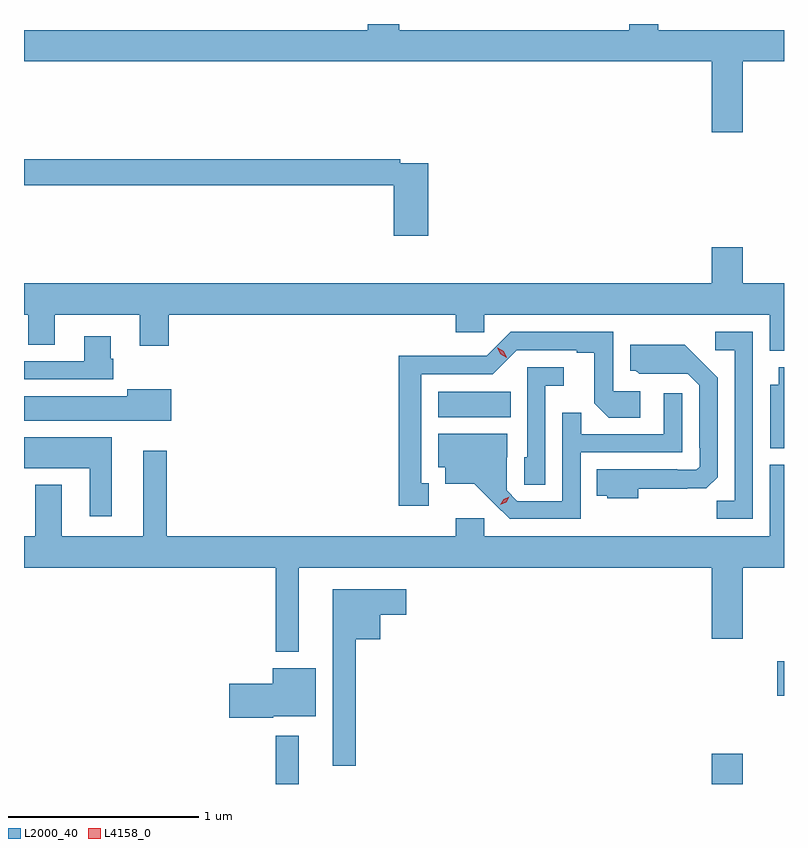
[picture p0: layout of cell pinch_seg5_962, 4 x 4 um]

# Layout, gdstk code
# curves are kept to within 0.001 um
import gdstk
lib = gdstk.Library(unit=1e-6, precision=1e-09)
def R(c, l, rs):  # rectangles x0, y0, x1, y1
    for r in rs: c.add(gdstk.rectangle(r[:2], r[2:], *l))
def P(c, l, *ps):  # polygons
    for p in ps: c.add(gdstk.Polygon(p, *l))
L2000_40 = (2000, 40)
L4158_0 = (4158, 0)

pinch_seg5_962 = lib.new_cell('pinch_seg5_962')
R(pinch_seg5_962, L2000_40, [(750.126,875.601,750.247,875.854), (752.42,875.601,752.584,875.761), (752.766,876.065,752.801,876.248), (750.98,877.532,751.364,877.666)])
P(pinch_seg5_962, L2000_40, [(752.584,879.404),(752.801,879.404),(752.801,879.568),(752.138,879.568),(752.138,879.601),(751.986,879.601),(751.986,879.568),(750.776,879.568),(750.776,879.601),(750.611,879.601),(750.611,879.568),(748.801,879.568),(748.801,879.404),(752.42,879.404),(752.42,879.03),(752.584,879.03)],
  [(750.929,878.868),(750.782,878.868),(750.782,878.888),(748.801,878.888),(748.801,878.752),(750.746,878.752),(750.746,878.487),(750.929,878.487)],
  [(752.801,878.236),(752.584,878.236),(752.584,878.425),(752.42,878.425),(752.42,878.236),(748.801,878.236),(748.801,878.072),(748.823,878.072),(748.823,877.912),(748.963,877.912),(748.963,878.072),(749.411,878.072),(749.411,877.908),(749.564,877.908),(749.564,878.072),(751.073,878.072),(751.073,877.979),(751.224,877.979),(751.224,878.072),(752.726,878.072),(752.726,877.88),(752.801,877.88)],
  [(752.637,877.98),(752.439,877.98),(752.439,877.884),(752.541,877.884),(752.541,877.091),(752.446,877.091),(752.446,876.996),(752.637,876.996)],
  [(750.931,877.185),(750.892,877.185),(750.892,877.758),(751.269,877.758),(751.395,877.884),(751.709,877.884),(751.709,877.872),(751.803,877.872),(751.803,877.604),(751.879,877.528),(752.044,877.528),(752.044,877.668),(751.902,877.668),(751.902,877.98),(751.362,877.98),(751.236,877.854),(751.014,877.854),(751.014,877.856),(750.774,877.856),(750.774,877.065),(750.931,877.065)],
  [(749.27,877.839),(749.257,877.839),(749.257,877.957),(749.117,877.957),(749.117,877.827),(748.801,877.827),(748.801,877.731),(749.27,877.731)],
  [(752.034,877.156),(752.392,877.157),(752.451,877.216),(752.451,877.738),(752.279,877.912),(751.991,877.912),(751.991,877.776),(752.022,877.776),(752.038,877.76),(752.295,877.761),(752.355,877.701),(752.355,877.372),(752.358,877.372),(752.358,877.272),(752.34,877.254),(752.24,877.254),(752.24,877.257),(751.816,877.257),(751.816,877.118),(751.872,877.118),(751.872,877.106),(752.034,877.106)],
  [(752.801,877.795),(752.774,877.795),(752.774,877.702),(752.729,877.702),(752.729,877.367),(752.801,877.367)],
  [(751.545,877.697),(751.642,877.697),(751.642,877.794),(751.449,877.794),(751.449,877.32),(751.434,877.32),(751.434,877.177),(751.545,877.177)],
  [(749.575,877.678),(749.345,877.678),(749.345,877.642),(748.801,877.642),(748.801,877.514),(749.575,877.514)],
  [(751.731,877.347),(752.265,877.347),(752.265,877.657),(752.169,877.657),(752.169,877.443),(751.733,877.443),(751.733,877.556),(751.635,877.556),(751.635,877.089),(751.398,877.089),(751.341,877.146),(751.341,877.32),(751.345,877.32),(751.345,877.444),(750.98,877.444),(750.98,877.268),(751.019,877.268),(751.019,877.181),(751.171,877.181),(751.358,876.996),(751.731,876.996)],
  [(749.263,877.426),(748.801,877.426),(748.801,877.262),(749.147,877.262),(749.147,877.011),(749.263,877.011)],
  [(750.247,876.74),(752.42,876.74),(752.42,876.366),(752.584,876.366),(752.584,876.74),(752.801,876.74),(752.801,877.282),(752.726,877.282),(752.726,876.904),(751.224,876.904),(751.224,877),(751.073,877),(751.073,876.904),(749.551,876.904),(749.551,877.354),(749.429,877.354),(749.429,876.904),(748.999,876.904),(748.999,877.177),(748.859,877.177),(748.859,876.904),(748.801,876.904),(748.801,876.74),(750.126,876.74),(750.126,876.296),(750.247,876.296)],
  [(750.547,876.362),(750.676,876.362),(750.676,876.491),(750.814,876.491),(750.814,876.625),(750.425,876.625),(750.425,875.697),(750.547,875.697)],
  [(750.114,875.957),(750.337,875.957),(750.337,876.211),(750.11,876.211),(750.11,876.128),(749.88,876.128),(749.88,875.95),(750.114,875.95)])
P(pinch_seg5_962, L4158_0, [(751.308,877.07),(751.308,877.07),(751.325,877.099),(751.356,877.114),(751.356,877.114),(751.356,877.114),(751.339,877.085),(751.308,877.07)],
  [(751.343,877.845),(751.311,877.864),(751.293,877.897),(751.293,877.897),(751.294,877.897),(751.326,877.878),(751.343,877.846),(751.343,877.845)])

lib.write_gds('pinch_seg5_962.gds')
